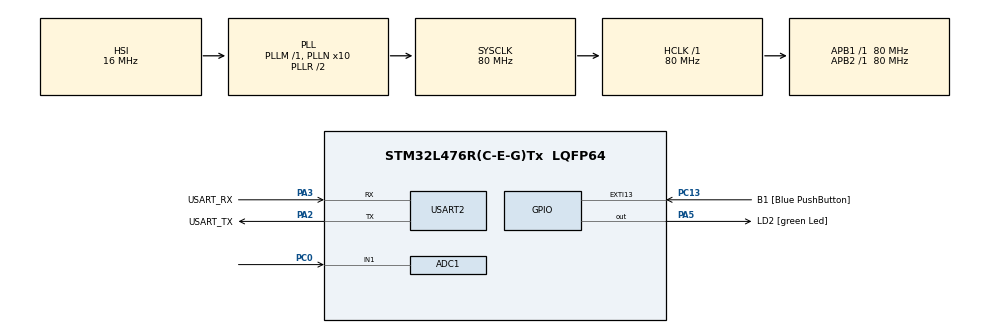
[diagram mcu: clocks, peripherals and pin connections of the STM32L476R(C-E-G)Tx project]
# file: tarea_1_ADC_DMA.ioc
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ADC1.Channel-0\#ChannelRegularConversion=ADC_CHANNEL_1
ADC1.ExternalTrigConv=ADC_EXTERNALTRIG_T2_TRGO
ADC1.NbrOfConversionFlag=1
ADC1.OffsetNumber-0\#ChannelRegularConversion=ADC_OFFSET_NONE
ADC1.Rank-0\#ChannelRegularConversion=1
ADC1.SamplingTime-0\#ChannelRegularConversion=ADC_SAMPLETIME_2CYCLES_5
ADC1.master=1
Dma.ADC1.0.Direction=DMA_PERIPH_TO_MEMORY
Dma.ADC1.0.Instance=DMA1_Channel1
Dma.ADC1.0.MemDataAlignment=DMA_MDATAALIGN_HALFWORD
Dma.ADC1.0.MemInc=DMA_MINC_ENABLE
Dma.ADC1.0.Mode=DMA_NORMAL
Dma.ADC1.0.PeriphDataAlignment=DMA_PDATAALIGN_HALFWORD
Dma.ADC1.0.PeriphInc=DMA_PINC_DISABLE
Dma.ADC1.0.Priority=DMA_PRIORITY_LOW
Dma.Request0=ADC1
Mcu.Family=STM32L4
Mcu.Name=STM32L476R(C-E-G)Tx
Mcu.Package=LQFP64
NVIC.DMA1_Channel1_IRQn=true\:0\:0\:false\:false\:true\:false\:true\:true
NVIC.EXTI15_10_IRQn=true\:0\:0\:false\:false\:true\:true\:true\:true
NVIC.PriorityGroup=NVIC_PRIORITYGROUP_4
PA13\ (JTMS-SWDIO).GPIO_Label=TMS
PA13\ (JTMS-SWDIO).Mode=Serial_Wire
PA13\ (JTMS-SWDIO).Signal=SYS_JTMS-SWDIO
PA14\ (JTCK-SWCLK).GPIO_Label=TCK
PA14\ (JTCK-SWCLK).Mode=Serial_Wire
PA14\ (JTCK-SWCLK).Signal=SYS_JTCK-SWCLK
PA2.GPIO_Label=USART_TX
PA2.GPIO_Mode=GPIO_MODE_AF_PP
PA2.GPIO_PuPd=GPIO_NOPULL
PA2.GPIO_Speed=GPIO_SPEED_FREQ_VERY_HIGH
PA2.Mode=Asynchronous
PA2.Signal=USART2_TX
PA3.GPIO_Label=USART_RX
PA3.GPIO_Mode=GPIO_MODE_AF_PP
PA3.GPIO_PuPd=GPIO_NOPULL
PA3.GPIO_Speed=GPIO_SPEED_FREQ_VERY_HIGH
PA3.Mode=Asynchronous
PA3.Signal=USART2_RX
PA5.GPIO_Label=LD2 [green Led]
PA5.GPIO_ModeDefaultOutputPP=GPIO_MODE_OUTPUT_PP
PA5.GPIO_PuPd=GPIO_NOPULL
PA5.GPIO_Speed=GPIO_SPEED_FREQ_LOW
PA5.Signal=GPIO_Output
PB3\ (JTDO-TRACESWO).GPIO_Label=SWO
PB3\ (JTDO-TRACESWO).Signal=SYS_JTDO-SWO
PC0.Signal=ADCx_IN1
PC13.GPIO_Label=B1 [Blue PushButton]
PC13.GPIO_ModeDefaultEXTI=GPIO_MODE_IT_FALLING
PC13.GPIO_PuPd=GPIO_NOPULL
PC13.Signal=GPXTI13
PC14-OSC32_IN\ (PC14).Mode=LSE-External-Oscillator
PC14-OSC32_IN\ (PC14).Signal=RCC_OSC32_IN
PC15-OSC32_OUT\ (PC15).Mode=LSE-External-Oscillator
PC15-OSC32_OUT\ (PC15).Signal=RCC_OSC32_OUT
PH0-OSC_IN\ (PH0).Signal=RCC_OSC_IN
PH1-OSC_OUT\ (PH1).Signal=RCC_OSC_OUT
ProjectManager.HeapSize=0x200
ProjectManager.StackSize=0x400
ProjectManager.TargetToolchain=STM32CubeIDE
RCC.ADCFreq_Value=64000000
RCC.AHBFreq_Value=80000000
RCC.APB1Freq_Value=80000000
RCC.APB1TimFreq_Value=80000000
RCC.APB2Freq_Value=80000000
RCC.APB2TimFreq_Value=80000000
RCC.CortexFreq_Value=80000000
RCC.HCLKFreq_Value=80000000
RCC.HSE_VALUE=8000000
RCC.HSI_VALUE=16000000
RCC.MSI_VALUE=4000000
RCC.PLLN=10
RCC.PLLSourceVirtual=RCC_PLLSOURCE_HSI
RCC.PREFETCH_ENABLE=1
RCC.SYSCLKFreq_VALUE=80000000
RCC.SYSCLKSource=RCC_SYSCLKSOURCE_PLLCLK
RCC.USBFreq_Value=64000000
RCC.VCOOutputFreq_Value=160000000
SH.ADCx_IN1.0=ADC1_IN1,IN1-Single-Ended
TIM2.Period=999
TIM2.Prescaler=799
TIM2.TIM_MasterOutputTrigger=TIM_TRGO_UPDATE
USART2.VirtualMode-Asynchronous=VM_ASYNC
VP_TIM2_VS_ClockSourceINT.Mode=Internal
board=NUCLEO-L476RG

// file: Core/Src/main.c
/* USER CODE BEGIN Header */
/**
  ******************************************************************************
  * @file           : main.c
  * @brief          : Main program body
  ******************************************************************************
  * @attention
  *
  * Copyright (c) 2026 STMicroelectronics.
  * All rights reserved.
  *
  * This software is licensed under terms that can be found in the LICENSE file
  * in the root directory of this software component.
  * If no LICENSE file comes with this software, it is provided AS-IS.
  *
  ******************************************************************************
  */
/* USER CODE END Header */
#include "main.h"

/* USER CODE BEGIN Includes */
#include <stdio.h>
#include <string.h>
/* USER CODE END Includes */

ADC_HandleTypeDef hadc1;
DMA_HandleTypeDef hdma_adc1;

TIM_HandleTypeDef htim2;

UART_HandleTypeDef huart2;

/* USER CODE BEGIN PV */

#define DATA_BUFFER_SIZE 200
uint16_t adc_buffer[DATA_BUFFER_SIZE]; // Buffer para 2 segundos de datos considerando que la frecuencia de muestreo es de 100Hz
uint8_t capture_active = 0;    // Bandera de estado
uint8_t data_ready = 0;

/* USER CODE END PV */

void SystemClock_Config(void);
static void MX_GPIO_Init(void);
static void MX_DMA_Init(void);
static void MX_USART2_UART_Init(void);
static void MX_ADC1_Init(void);
static void MX_TIM2_Init(void);

int main(void)
{

  /* MCU Configuration--------------------------------------------------------*/

  /* Reset of all peripherals, Initializes the Flash interface and the Systick. */
  HAL_Init();

  /* Configure the system clock */
  SystemClock_Config();

  /* Initialize all configured peripherals */
  MX_GPIO_Init();
  MX_DMA_Init();
  MX_USART2_UART_Init();
  MX_ADC1_Init();
  MX_TIM2_Init();

  /* Infinite loop */
  /* USER CODE BEGIN WHILE */
  while (1)
  {
	if(data_ready){
		printf("\r\n--- INICIO DE DATOS ---\r\n");
		for (int i = 0; i < 200; i++)
		{
			// Formato: Indice, Valor_ADC (0-4095)
			printf("%d,%u\r\n", i, adc_buffer[i]);
		}

		printf("--- FIN DE DATOS ---\r\n");
		data_ready=0;
	}
    /* USER CODE END WHILE */

  }
}

void SystemClock_Config(void)
{
  RCC_OscInitTypeDef RCC_OscInitStruct = {0};
  RCC_ClkInitTypeDef RCC_ClkInitStruct = {0};

  /** Configure the main internal regulator output voltage
  */
  if (HAL_PWREx_ControlVoltageScaling(PWR_REGULATOR_VOLTAGE_SCALE1) != HAL_OK)
  {
    Error_Handler();
  }

  /** Initializes the RCC Oscillators according to the specified parameters
  * in the RCC_OscInitTypeDef structure.
  */
  RCC_OscInitStruct.OscillatorType = RCC_OSCILLATORTYPE_HSI;
  RCC_OscInitStruct.HSIState = RCC_HSI_ON;
  RCC_OscInitStruct.HSICalibrationValue = RCC_HSICALIBRATION_DEFAULT;
  RCC_OscInitStruct.PLL.PLLState = RCC_PLL_ON;
  RCC_OscInitStruct.PLL.PLLSource = RCC_PLLSOURCE_HSI;
  RCC_OscInitStruct.PLL.PLLM = 1;
  RCC_OscInitStruct.PLL.PLLN = 10;
  RCC_OscInitStruct.PLL.PLLP = RCC_PLLP_DIV7;
  RCC_OscInitStruct.PLL.PLLQ = RCC_PLLQ_DIV2;
  RCC_OscInitStruct.PLL.PLLR = RCC_PLLR_DIV2;
  if (HAL_RCC_OscConfig(&RCC_OscInitStruct) != HAL_OK)
  {
    Error_Handler();
  }

  /** Initializes the CPU, AHB and APB buses clocks
  */
  RCC_ClkInitStruct.ClockType = RCC_CLOCKTYPE_HCLK|RCC_CLOCKTYPE_SYSCLK
                              |RCC_CLOCKTYPE_PCLK1|RCC_CLOCKTYPE_PCLK2;
  RCC_ClkInitStruct.SYSCLKSource = RCC_SYSCLKSOURCE_PLLCLK;
  RCC_ClkInitStruct.AHBCLKDivider = RCC_SYSCLK_DIV1;
  RCC_ClkInitStruct.APB1CLKDivider = RCC_HCLK_DIV1;
  RCC_ClkInitStruct.APB2CLKDivider = RCC_HCLK_DIV1;

  if (HAL_RCC_ClockConfig(&RCC_ClkInitStruct, FLASH_LATENCY_4) != HAL_OK)
  {
    Error_Handler();
  }
}

static void MX_ADC1_Init(void)
{

  ADC_MultiModeTypeDef multimode = {0};
  ADC_ChannelConfTypeDef sConfig = {0};

  /** Common config
  */
  hadc1.Instance = ADC1;
  hadc1.Init.ClockPrescaler = ADC_CLOCK_ASYNC_DIV1;
  hadc1.Init.Resolution = ADC_RESOLUTION_12B;
  hadc1.Init.DataAlign = ADC_DATAALIGN_RIGHT;
  hadc1.Init.ScanConvMode = ADC_SCAN_DISABLE;
  hadc1.Init.EOCSelection = ADC_EOC_SINGLE_CONV;
  hadc1.Init.LowPowerAutoWait = DISABLE;
  hadc1.Init.ContinuousConvMode = DISABLE;
  hadc1.Init.NbrOfConversion = 1;
  hadc1.Init.DiscontinuousConvMode = DISABLE;
  hadc1.Init.ExternalTrigConv = ADC_EXTERNALTRIG_T2_TRGO;
  hadc1.Init.ExternalTrigConvEdge = ADC_EXTERNALTRIGCONVEDGE_RISING;
  hadc1.Init.DMAContinuousRequests = DISABLE;
  hadc1.Init.Overrun = ADC_OVR_DATA_PRESERVED;
  hadc1.Init.OversamplingMode = DISABLE;
  if (HAL_ADC_Init(&hadc1) != HAL_OK)
  {
    Error_Handler();
  }

  /** Configure the ADC multi-mode
  */
  multimode.Mode = ADC_MODE_INDEPENDENT;
  if (HAL_ADCEx_MultiModeConfigChannel(&hadc1, &multimode) != HAL_OK)
  {
    Error_Handler();
  }

  /** Configure Regular Channel
  */
  sConfig.Channel = ADC_CHANNEL_1;
  sConfig.Rank = ADC_REGULAR_RANK_1;
  sConfig.SamplingTime = ADC_SAMPLETIME_2CYCLES_5;
  sConfig.SingleDiff = ADC_SINGLE_ENDED;
  sConfig.OffsetNumber = ADC_OFFSET_NONE;
  sConfig.Offset = 0;
  if (HAL_ADC_ConfigChannel(&hadc1, &sConfig) != HAL_OK)
  {
    Error_Handler();
  }

}

static void MX_TIM2_Init(void)
{

  TIM_ClockConfigTypeDef sClockSourceConfig = {0};
  TIM_MasterConfigTypeDef sMasterConfig = {0};

  htim2.Instance = TIM2;
  htim2.Init.Prescaler = 799;
  htim2.Init.CounterMode = TIM_COUNTERMODE_UP;
  htim2.Init.Period = 999;
  htim2.Init.ClockDivision = TIM_CLOCKDIVISION_DIV1;
  htim2.Init.AutoReloadPreload = TIM_AUTORELOAD_PRELOAD_DISABLE;
  if (HAL_TIM_Base_Init(&htim2) != HAL_OK)
  {
    Error_Handler();
  }
  sClockSourceConfig.ClockSource = TIM_CLOCKSOURCE_INTERNAL;
  if (HAL_TIM_ConfigClockSource(&htim2, &sClockSourceConfig) != HAL_OK)
  {
    Error_Handler();
  }
  sMasterConfig.MasterOutputTrigger = TIM_TRGO_UPDATE;
  sMasterConfig.MasterSlaveMode = TIM_MASTERSLAVEMODE_DISABLE;
  if (HAL_TIMEx_MasterConfigSynchronization(&htim2, &sMasterConfig) != HAL_OK)
  {
    Error_Handler();
  }

}

static void MX_USART2_UART_Init(void)
{

  huart2.Instance = USART2;
  huart2.Init.BaudRate = 115200;
  huart2.Init.WordLength = UART_WORDLENGTH_8B;
  huart2.Init.StopBits = UART_STOPBITS_1;
  huart2.Init.Parity = UART_PARITY_NONE;
  huart2.Init.Mode = UART_MODE_TX_RX;
  huart2.Init.HwFlowCtl = UART_HWCONTROL_NONE;
  huart2.Init.OverSampling = UART_OVERSAMPLING_16;
  huart2.Init.OneBitSampling = UART_ONE_BIT_SAMPLE_DISABLE;
  huart2.AdvancedInit.AdvFeatureInit = UART_ADVFEATURE_NO_INIT;
  if (HAL_UART_Init(&huart2) != HAL_OK)
  {
    Error_Handler();
  }

}

static void MX_DMA_Init(void)
{

  /* DMA controller clock enable */
  __HAL_RCC_DMA1_CLK_ENABLE();

  /* DMA interrupt init */
  /* DMA1_Channel1_IRQn interrupt configuration */
  HAL_NVIC_SetPriority(DMA1_Channel1_IRQn, 0, 0);
  HAL_NVIC_EnableIRQ(DMA1_Channel1_IRQn);

}

static void MX_GPIO_Init(void)
{
  GPIO_InitTypeDef GPIO_InitStruct = {0};

  /* GPIO Ports Clock Enable */
  __HAL_RCC_GPIOC_CLK_ENABLE();
  __HAL_RCC_GPIOH_CLK_ENABLE();
  __HAL_RCC_GPIOA_CLK_ENABLE();
  __HAL_RCC_GPIOB_CLK_ENABLE();

  /*Configure GPIO pin Output Level */
  HAL_GPIO_WritePin(LD2_GPIO_Port, LD2_Pin, GPIO_PIN_RESET);

  /*Configure GPIO pin : B1_Pin */
  GPIO_InitStruct.Pin = B1_Pin;
  GPIO_InitStruct.Mode = GPIO_MODE_IT_FALLING;
  GPIO_InitStruct.Pull = GPIO_NOPULL;
  HAL_GPIO_Init(B1_GPIO_Port, &GPIO_InitStruct);

  /*Configure GPIO pin : LD2_Pin */
  GPIO_InitStruct.Pin = LD2_Pin;
  GPIO_InitStruct.Mode = GPIO_MODE_OUTPUT_PP;
  GPIO_InitStruct.Pull = GPIO_NOPULL;
  GPIO_InitStruct.Speed = GPIO_SPEED_FREQ_LOW;
  HAL_GPIO_Init(LD2_GPIO_Port, &GPIO_InitStruct);

  /* EXTI interrupt init*/
  HAL_NVIC_SetPriority(EXTI15_10_IRQn, 0, 0);
  HAL_NVIC_EnableIRQ(EXTI15_10_IRQn);

}

/* USER CODE BEGIN 4 */

void HAL_GPIO_EXTI_Callback(uint16_t GPIO_Pin)
{
    if (GPIO_Pin == B1_Pin && capture_active == 0)
    {
        capture_active = 1;

        // Iniciamos ADC con DMA: le pasamos el buffer y el tamaño total (200)
        HAL_ADC_Start_DMA(&hadc1, (uint32_t*)adc_buffer, DATA_BUFFER_SIZE);

        // Iniciamos el Timer que genera los triggers de 100 Hz
        HAL_TIM_Base_Start(&htim2);
    }
}

void HAL_ADC_ConvCpltCallback(ADC_HandleTypeDef* hadc)
{
    if (hadc->Instance == ADC1)
    {
        // DMA terminó la de llenar el buffer
        HAL_ADC_Stop_DMA(hadc);     // Se detiene la conversión de datos
        HAL_TIM_Base_Stop(&htim2);  // Detenemos el timer
        capture_active = 0;
        data_ready=1;
    }
}

int __io_putchar(int ch)
{
  // Mandamos un caracter a la vez por la UART2
  HAL_UART_Transmit(&huart2, (uint8_t *)&ch, 1, HAL_MAX_DELAY);
  return ch;
}

/* USER CODE END 4 */

void Error_Handler(void)
{
  __disable_irq();
  while (1)
  {
  }
}
